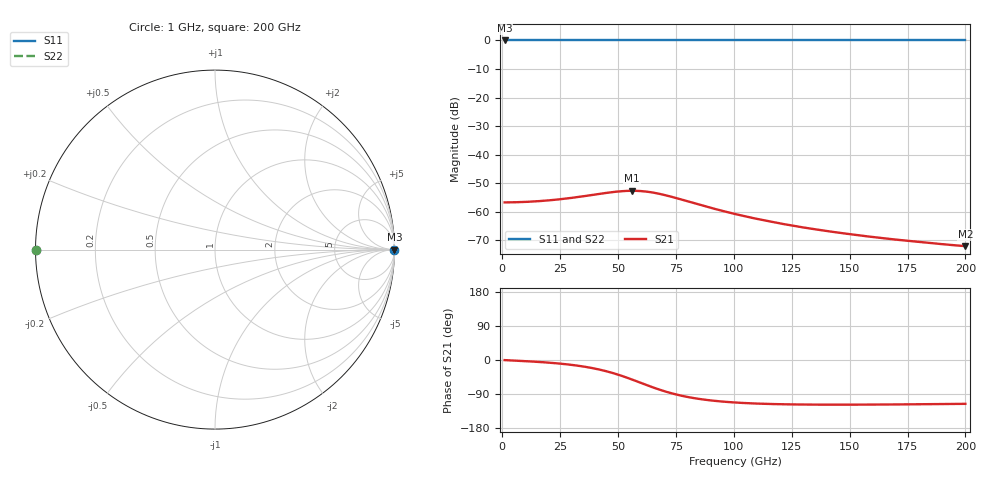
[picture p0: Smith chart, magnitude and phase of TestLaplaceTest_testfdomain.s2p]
! File created by SignalIntegrity v1.1.15: Signal and Power Integrity Tools
! https://github.com/TeledyneLeCroy/SignalIntegrity
# MHz S MA R 50.0
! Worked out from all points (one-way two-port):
!   200 points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, 1 GHz to 200 GHz, reference 50 ohm
!   highest |S21| = -52.69 dB at 56 GHz (marker M1); lowest = -72.1 dB at 200 GHz (marker M2)
!   lowest |S11| = 0.0 dB at 1 GHz (marker M3)
!   |S11| at or under -10 dB: nowhere
!   |S22| runs from 0.0 to 0.0 dB; largest |S21 - S12| = 0.0023
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1000  1 0.0  0.001451 -0.3  0 0.0  1 180.0
9000  1 0.0  0.001475 -2.7  0 0.0  1 180.0
18000  1 0.0  0.00155 -6.0  0 0.0  1 180.0
26000  1 0.0  0.001666 -10.2  0 0.0  1 180.0
35000  1 0.0  0.001858 -17.2  0 0.0  1 180.0
48000  1 0.0  0.002207 -34.9  0 0.0  1 180.0
52000  1 0.0  0.002286 -42.7  0 0.0  1 180.0
56000  1 0.0  0.002319 -51.4  0 0.0  1 180.0
59000  1 0.0  0.002303 -58.4  0 0.0  1 180.0
62000  1 0.0  0.002248 -65.4  0 0.0  1 180.0
65000  1 0.0  0.002159 -72.1  0 0.0  1 180.0
68000  1 0.0  0.002044 -78.5  0 0.0  1 180.0
74000  1 0.0  0.001779 -89.3  0 0.0  1 180.0
92000  1 0.0  0.00111 -108.0  0 0.0  1 180.0
101000  1 0.0  0.000899 -112.4  0 0.0  1 180.0
109000  1 0.0  0.00076 -114.8  0 0.0  1 180.0
119000  1 0.0  0.000631 -116.6  0 0.0  1 180.0
134000  1 0.0  0.000498 -117.7  0 0.0  1 180.0
152000  1 0.0  0.000393 -117.9  0 0.0  1 180.0
167000  1 0.0  0.000333 -117.4  0 0.0  1 180.0
182000  1 0.0  0.000288 -116.7  0 0.0  1 180.0
200000  1 0.0  0.000248 -115.7  0 0.0  1 180.0
